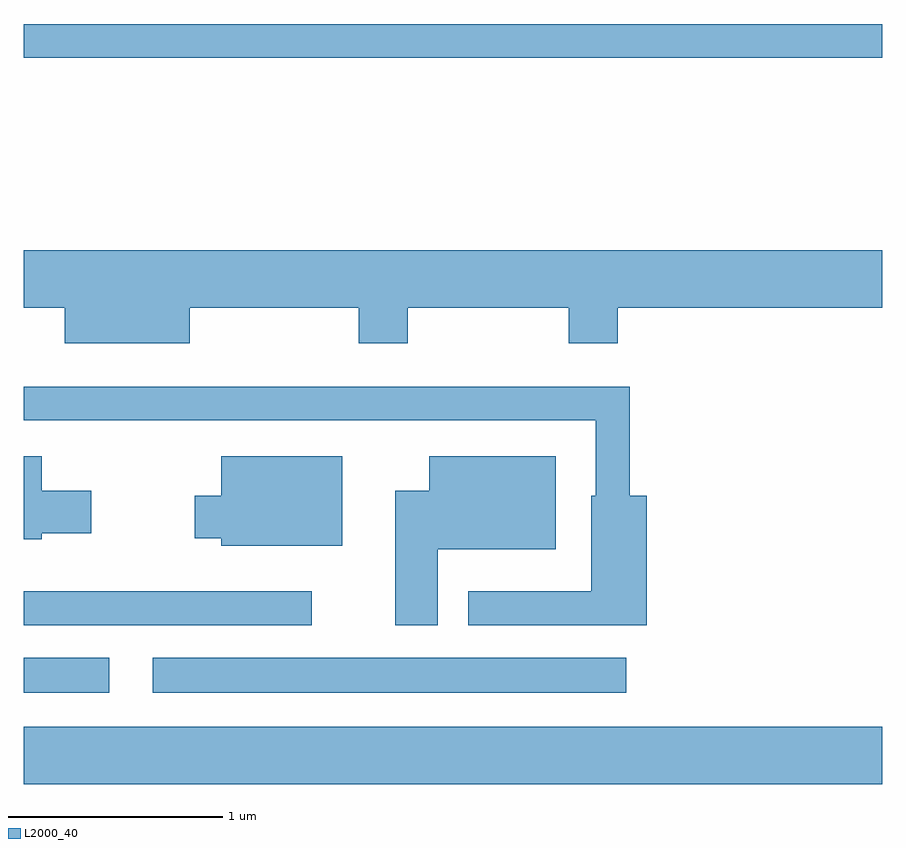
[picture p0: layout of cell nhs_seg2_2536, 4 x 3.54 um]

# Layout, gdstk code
import gdstk
lib = gdstk.Library(unit=1e-6, precision=1e-09)
def R(c, l, rs):  # rectangles x0, y0, x1, y1
    for r in rs: c.add(gdstk.rectangle(r[:2], r[2:], *l))
def P(c, l, *ps):  # polygons
    for p in ps: c.add(gdstk.Polygon(p, *l))
L2000_40 = (2000, 40)

nhs_seg2_2536 = lib.new_cell('nhs_seg2_2536')
R(nhs_seg2_2536, L2000_40, [(259.611,1023.896,263.611,1024.164), (259.611,1024.321,260.008,1024.484), (260.212,1024.321,262.418,1024.484), (259.611,1024.636,260.953,1024.794), (259.611,1027.281,263.611,1027.439)])
P(nhs_seg2_2536, L2000_40, [(260.384,1026.116),(261.171,1026.116),(261.171,1025.951),(261.399,1025.951),(261.399,1026.116),(262.151,1026.116),(262.151,1025.951),(262.379,1025.951),(262.379,1026.116),(263.611,1026.116),(263.611,1026.384),(259.611,1026.384),(259.611,1026.116),(259.801,1026.116),(259.801,1025.951),(260.384,1025.951)],
  [(262.514,1025.239),(262.434,1025.239),(262.434,1025.749),(259.611,1025.749),(259.611,1025.591),(262.276,1025.591),(262.276,1025.239),(262.256,1025.239),(262.256,1024.794),(261.683,1024.794),(261.683,1024.636),(262.514,1024.636)],
  [(261.539,1024.991),(262.089,1024.991),(262.089,1025.424),(261.501,1025.424),(261.501,1025.264),(261.341,1025.264),(261.341,1024.636),(261.539,1024.636)],
  [(259.694,1025.066),(259.924,1025.066),(259.924,1025.264),(259.694,1025.264),(259.694,1025.424),(259.611,1025.424),(259.611,1025.036),(259.694,1025.036)],
  [(261.094,1025.424),(260.531,1025.424),(260.531,1025.239),(260.406,1025.239),(260.406,1025.041),(260.531,1025.041),(260.531,1025.006),(261.094,1025.006)])

lib.write_gds('nhs_seg2_2536.gds')
